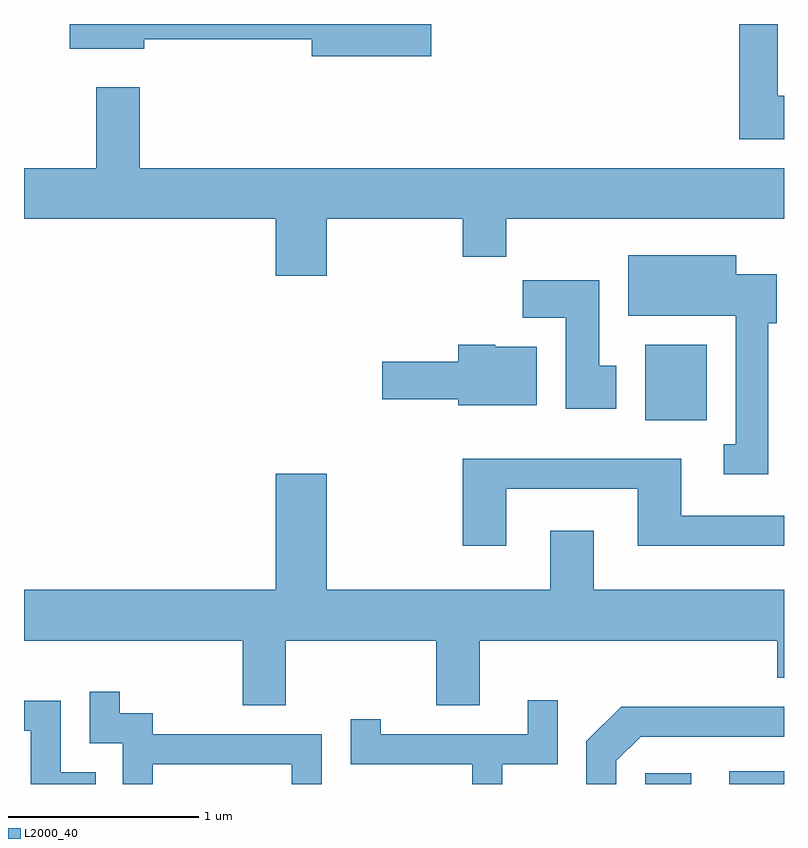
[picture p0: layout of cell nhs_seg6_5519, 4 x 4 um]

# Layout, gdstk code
import gdstk
lib = gdstk.Library(unit=1e-6, precision=1e-09)
def R(c, l, rs):  # rectangles x0, y0, x1, y1
    for r in rs: c.add(gdstk.rectangle(r[:2], r[2:], *l))
def P(c, l, *ps):  # polygons
    for p in ps: c.add(gdstk.Polygon(p, *l))
L2000_40 = (2000, 40)

nhs_seg6_5519 = lib.new_cell('nhs_seg6_5519')
R(nhs_seg6_5519, L2000_40, [(356.881,1558.162,357.123,1558.219), (357.323,1558.162,357.611,1558.229), (356.881,1560.076,357.204,1560.474)])
P(nhs_seg6_5519, L2000_40, [(357.611,1561.784),(357.579,1561.784),(357.579,1562.162),(357.376,1562.162),(357.376,1561.556),(357.611,1561.556)],
  [(355.754,1562.162),(353.851,1562.162),(353.851,1562.031),(354.244,1562.031),(354.244,1562.081),(355.126,1562.081),(355.126,1561.991),(355.754,1561.991)],
  [(355.204,1561.136),(355.921,1561.136),(355.921,1560.936),(356.149,1560.936),(356.149,1561.136),(357.611,1561.136),(357.611,1561.404),(354.219,1561.404),(354.219,1561.829),(353.991,1561.829),(353.991,1561.404),(353.611,1561.404),(353.611,1561.136),(354.936,1561.136),(354.936,1560.836),(355.204,1560.836)],
  [(357.529,1560.586),(357.574,1560.586),(357.574,1560.844),(357.359,1560.844),(357.359,1560.944),(356.791,1560.944),(356.791,1560.626),(357.356,1560.626),(357.356,1559.949),(357.293,1559.949),(357.293,1559.791),(357.529,1559.791)],
  [(356.729,1560.364),(356.639,1560.364),(356.639,1560.814),(356.236,1560.814),(356.236,1560.616),(356.461,1560.616),(356.461,1560.136),(356.729,1560.136)],
  [(356.309,1560.464),(356.09,1560.464),(356.09,1560.474),(355.896,1560.474),(355.896,1560.384),(355.496,1560.384),(355.496,1560.186),(355.896,1560.186),(355.896,1560.156),(356.309,1560.156)],
  [(356.149,1559.716),(356.841,1559.716),(356.841,1559.416),(357.611,1559.416),(357.611,1559.574),(357.069,1559.574),(357.069,1559.874),(355.921,1559.874),(355.921,1559.416),(356.149,1559.416)],
  [(354.989,1558.916),(355.781,1558.916),(355.781,1558.576),(356.009,1558.576),(356.009,1558.916),(357.576,1558.916),(357.576,1558.721),(357.611,1558.721),(357.611,1559.184),(356.609,1559.184),(356.609,1559.494),(356.381,1559.494),(356.381,1559.184),(355.204,1559.184),(355.204,1559.794),(354.936,1559.794),(354.936,1559.184),(353.611,1559.184),(353.611,1558.916),(354.761,1558.916),(354.761,1558.576),(354.989,1558.576)],
  [(354.289,1558.266),(355.021,1558.266),(355.021,1558.162),(355.179,1558.162),(355.179,1558.424),(354.289,1558.424),(354.289,1558.534),(354.114,1558.534),(354.114,1558.648),(353.956,1558.648),(353.956,1558.376),(354.131,1558.376),(354.131,1558.162),(354.289,1558.162)],
  [(356.129,1558.266),(356.419,1558.266),(356.419,1558.603),(356.261,1558.603),(356.261,1558.424),(355.489,1558.424),(355.489,1558.503),(355.331,1558.503),(355.331,1558.266),(355.971,1558.266),(355.971,1558.162),(356.129,1558.162)],
  [(353.988,1558.224),(353.804,1558.224),(353.804,1558.599),(353.611,1558.599),(353.611,1558.441),(353.646,1558.441),(353.646,1558.162),(353.988,1558.162)],
  [(356.729,1558.284),(356.857,1558.411),(357.611,1558.411),(357.611,1558.569),(356.754,1558.569),(356.571,1558.387),(356.571,1558.162),(356.729,1558.162)])

lib.write_gds('nhs_seg6_5519.gds')
